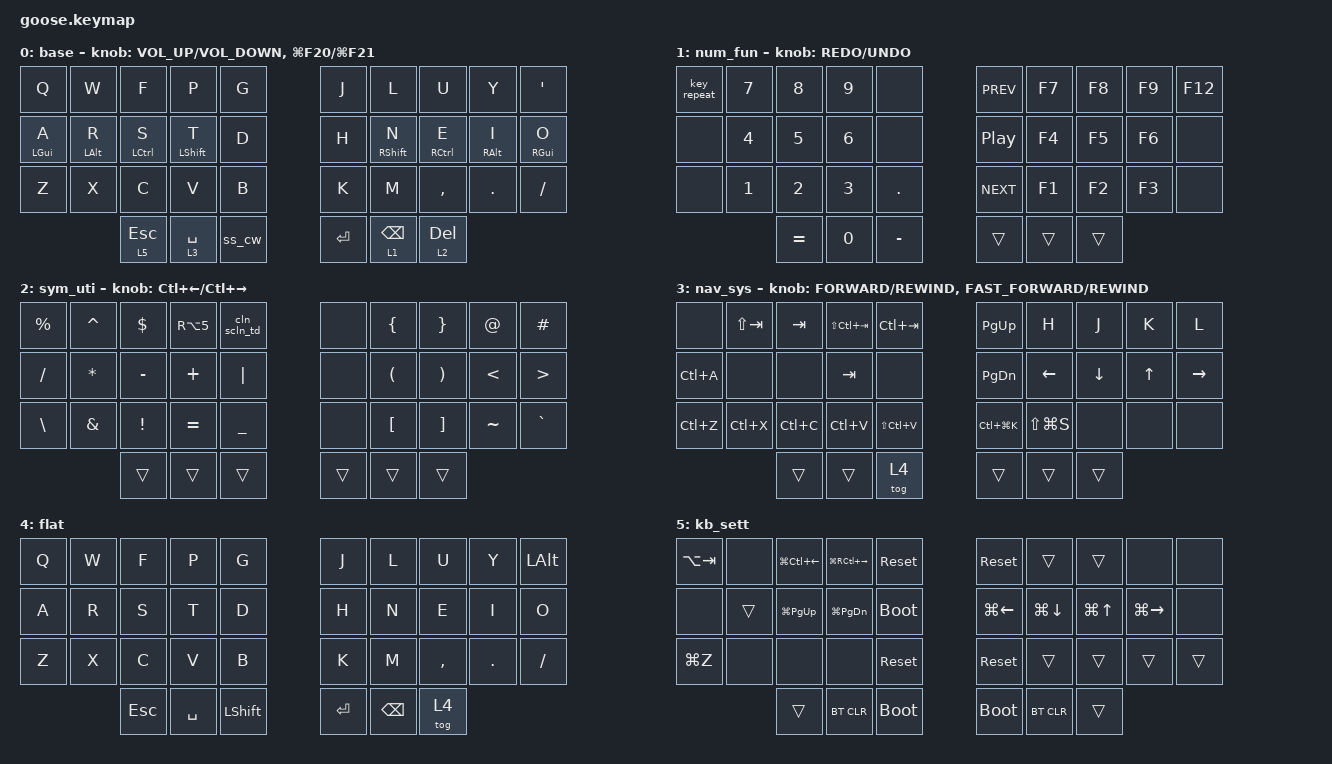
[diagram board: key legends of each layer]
/*
 * Copyright (c) 2020 The ZMK Contributors
 *
 * SPDX-License-Identifier: MIT
 */

#include <behaviors.dtsi>
#include <dt-bindings/zmk/bt.h>
#include <dt-bindings/zmk/keys.h>

#define QUICK_TAP_MS 175
#define TAPPING_TERM_MS 150
#define SLOW_TAPPING_TERM_MS 200
#define IDLE_TIMEOUT_MS 5000
#define REQ_IDLE_MS 100

&lt {
    // Layer toggle

    flavor = "tap-preferred";
    tapping-term-ms = <TAPPING_TERM_MS>;
    quick-tap-ms = <QUICK_TAP_MS>;
};

&sk {
    // Sticky keys settings, One Shot Keys [QMK]

    release-after-ms = <IDLE_TIMEOUT_MS>;
    quick-release;
};

&caps_word {
    // Allow caps word to continue even when minus or underscore are pressed.
    // Also prevent mod presses from cancelling caps word.

    continue-list = <
      UNDERSCORE MINUS
      LCTRL LALT LGUI LSHFT
      RCTRL RALT RGUI RSHFT
      BACKSPACE
    >;

    /delete-property/ ignore-modifiers;
};

/ {
    behaviors {
        hml: homerow_mods_left {
            compatible = "zmk,behavior-hold-tap";
            label = "HOMEROW_MODS_LEFT_HAND";
            bindings = <&kp>, <&kp>;

            #binding-cells = <2>;
            tapping-term-ms = <TAPPING_TERM_MS>;
            quick-tap-ms = <QUICK_TAP_MS>;
            flavor = "balanced";
            require-prior-idle-ms = <REQ_IDLE_MS>;

            // hold-trigger-key-positions = <5 6 7 8 9 19 18 17 16 15 34 25 26 35 27 28 29 37 36 33>;
            // hold-trigger-on-release;
        };

        hmr: homerow_mods_right {
            compatible = "zmk,behavior-hold-tap";
            label = "HOMEROW_MODS_RIGHT_HAND";
            bindings = <&kp>, <&kp>;

            #binding-cells = <2>;
            tapping-term-ms = <TAPPING_TERM_MS>;
            quick-tap-ms = <QUICK_TAP_MS>;
            flavor = "balanced";
            require-prior-idle-ms = <REQ_IDLE_MS>;

            // hold-trigger-key-positions = <0 1 2 3 4 14 13 12 11 10 11 12 13 14 20 21 22 23 24 31 32 30>;
            // hold-trigger-on-release;
        };

        ss_cw: shift_capsword {
            compatible = "zmk,behavior-tap-dance";
            label = "SHIFT_CAPSWORD";
            #binding-cells = <0>;
            bindings = <&sk LEFT_SHIFT>, <&caps_word>;

            tapping-term-ms = <SLOW_TAPPING_TERM_MS>;
        };

        cln_scln_td: cln_scln_td {
            compatible = "zmk,behavior-tap-dance";
            label = "CLN_SCLN_TD";
            #binding-cells = <0>;
            bindings = <&kp COLON>, <&kp SEMICOLON>;
        };
    };

    keymap {
        compatible = "zmk,keymap";

        base {
            bindings = <
&kp Q            &kp W            &kp F                &kp P              &kp G   &kp J      &kp L               &kp U                 &kp Y             &kp APOSTROPHE
&hml LEFT_GUI A  &hml LEFT_ALT R  &hml LEFT_CONTROL S  &hml LEFT_SHIFT T  &kp D   &kp H      &hmr RIGHT_SHIFT N  &hmr RIGHT_CONTROL E  &hmr RIGHT_ALT I  &hmr RIGHT_GUI O
&kp Z            &kp X            &kp C                &kp V              &kp B   &kp K      &kp M               &kp COMMA             &kp PERIOD        &kp SLASH
                                  &lt 5 ESC            &lt 3 SPACE        &ss_cw  &kp ENTER  &lt 1 BACKSPACE     &lt 2 DELETE
            >;

            sensor-bindings =
                <&inc_dec_kp C_VOL_UP C_VOLUME_DOWN>,
                <&inc_dec_kp LG(F20) LG(F21)>;
        };

        num_fun {
            bindings = <
&key_repeat  &kp N7  &kp N8     &kp N9  &none      &kp C_PREV  &kp F7  &kp F8  &kp F9  &kp F12
&none        &kp N4  &kp N5     &kp N6  &none      &kp C_PP    &kp F4  &kp F5  &kp F6  &none
&none        &kp N1  &kp N2     &kp N3  &kp DOT    &kp C_NEXT  &kp F1  &kp F2  &kp F3  &none
                     &kp EQUAL  &kp N0  &kp MINUS  &trans      &trans  &trans
            >;

            sensor-bindings = <&inc_dec_kp K_REDO K_UNDO>;
        };

        sym_uti {
            bindings = <
&kp PERCENT  &kp CARET      &kp DOLLAR       &kp RA(N5)  &cln_scln_td    &none   &kp LEFT_BRACE        &kp RIGHT_BRACE        &kp AT_SIGN    &kp HASH
&kp FSLH     &kp ASTERISK   &kp MINUS        &kp PLUS    &kp PIPE        &none   &kp LEFT_PARENTHESIS  &kp RIGHT_PARENTHESIS  &kp LESS_THAN  &kp GREATER_THAN
&kp BSLH     &kp AMPERSAND  &kp EXCLAMATION  &kp EQUAL   &kp UNDERSCORE  &none   &kp LBKT              &kp RBKT               &kp TILDE      &kp GRAVE
                            &trans           &trans      &trans          &trans  &trans                &trans
            >;

            sensor-bindings = <&inc_dec_kp LC(LEFT_ARROW) LC(RIGHT)>;
        };

        nav_sys {
            bindings = <
&none      &kp LS(TAB)  &kp TAB    &kp LS(LC(TAB))  &kp LC(TAB)    &kp PG_UP      &kp H          &kp J     &kp K   &kp L
&kp LC(A)  &none        &none      &kp TAB          &none          &kp PG_DN      &kp LEFT       &kp DOWN  &kp UP  &kp RIGHT
&kp LC(Z)  &kp LC(X)    &kp LC(C)  &kp LC(V)        &kp LS(LC(V))  &kp LC(LG(K))  &kp LS(LG(S))  &none     &none   &none
                        &trans     &trans           &tog 4         &trans         &trans         &trans
            >;

            sensor-bindings =
                <&inc_dec_kp K_FORWARD C_REWIND>,
                <&inc_dec_kp C_FAST_FORWARD C_REWIND>;
        };

        flat {
            bindings = <
&kp Q  &kp W  &kp F    &kp P      &kp G      &kp J      &kp L     &kp U      &kp Y    &kp LEFT_ALT
&kp A  &kp R  &kp S    &kp T      &kp D      &kp H      &kp N     &kp E      &kp I    &kp O
&kp Z  &kp X  &kp C    &kp V      &kp B      &kp K      &kp M     &kp COMMA  &kp DOT  &kp FSLH
              &kp ESC  &kp SPACE  &kp LSHFT  &kp ENTER  &kp BSPC  &tog 4
            >;
        };

        kb_sett {
            bindings = <
&kp LA(TAB)  &none   &kp LG(LC(LEFT_ARROW))  &kp LG(RC(RIGHT_ARROW))  &sys_reset   &sys_reset          &trans        &trans            &none          &none
&none        &trans  &kp LG(PG_UP)           &kp LG(PG_DN)            &bootloader  &kp LG(LEFT_ARROW)  &kp LG(DOWN)  &kp LG(UP_ARROW)  &kp LG(RIGHT)  &none
&kp LG(Z)    &none   &none                   &none                    &sys_reset   &sys_reset          &trans        &trans            &trans         &trans
                     &trans                  &bt BT_CLR               &bootloader  &bootloader         &bt BT_CLR    &trans
            >;
        };

        sensor-bindings = <&inc_dec_kp C_VOLUME_UP C_VOLUME_DOWN>;
    };
};
